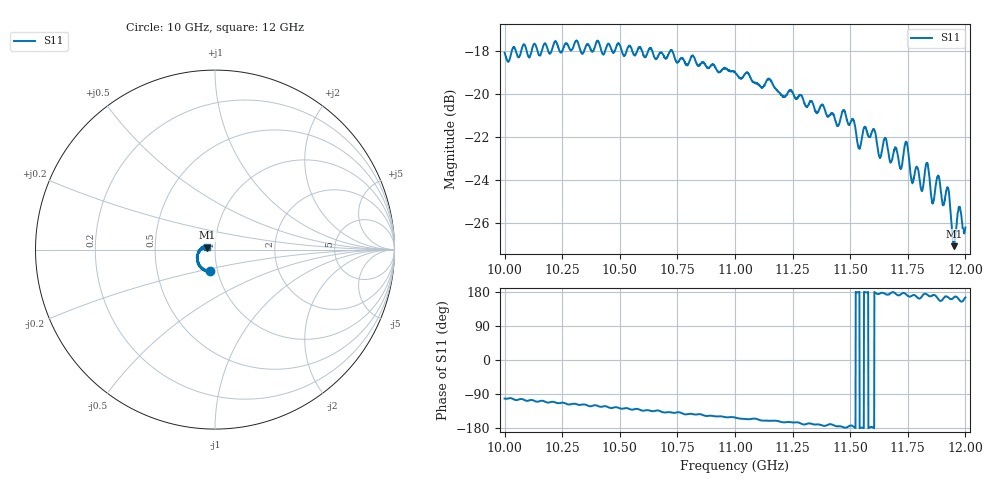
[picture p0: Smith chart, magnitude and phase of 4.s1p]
[Version] 2.0
! Rohde & Schwarz Vector Network Analyzer
! Rohde-Schwarz,ZNL20-2Port,1323001220200009,1.71.1.10-23.02.1.238
! Port Assignments:
! Nominal Port -> Actual Test Port
!  1 -> 1
! Created: GMT 2024-09-04 10:31:00
# Hz S DB R 50
[Number of Ports] 1
! freq[Hz]  S11[mag dB]  S11[ang]
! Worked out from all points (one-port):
!   2001 points, 10 GHz to 12 GHz, reference 50 ohm
!   lowest |S11| = -27.1 dB at 11.95 GHz (marker M1), VSWR 1.09, Z = 45.9 + j1.03 ohm
!   |S11| at or under -10 dB: start of sweep to end of sweep
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[Number of Frequencies] 28
[Network Data]
1e10  -18.09 -101.7
1.025e10  -18.01 -112.5
1.05e10  -17.74 -127.5
1.075e10  -18.56 -138.2
1.1e10  -18.98 -151.7
1.125e10  -19.93 -164.7
1.15e10  -21.37 -172.9
1.1539e10  -22.51 179.9
1.1565e10  -21.56 178.8
1.1604e10  -21.67 -180.0
1.1628e10  -22.96 175.3
1.1652e10  -22.08 174.5
1.1674e10  -23.18 175.9
1.1697e10  -22.51 174.8
1.1718e10  -23.43 172.4
1.174e10  -22.26 174.5
1.175e10  -22.51 169.4
1.177e10  -24.16 170.4
1.179e10  -23.40 166.0
1.1812e10  -24.53 168.0
1.1833e10  -23.24 173.0
1.1858e10  -25.08 170.5
1.1881e10  -23.82 161.8
1.1903e10  -25.13 160.8
1.1923e10  -24.39 166.2
1.195e10  -27.08 165.3
1.1973e10  -25.30 159.0
1.2e10  -26.22 164.9
[End]
